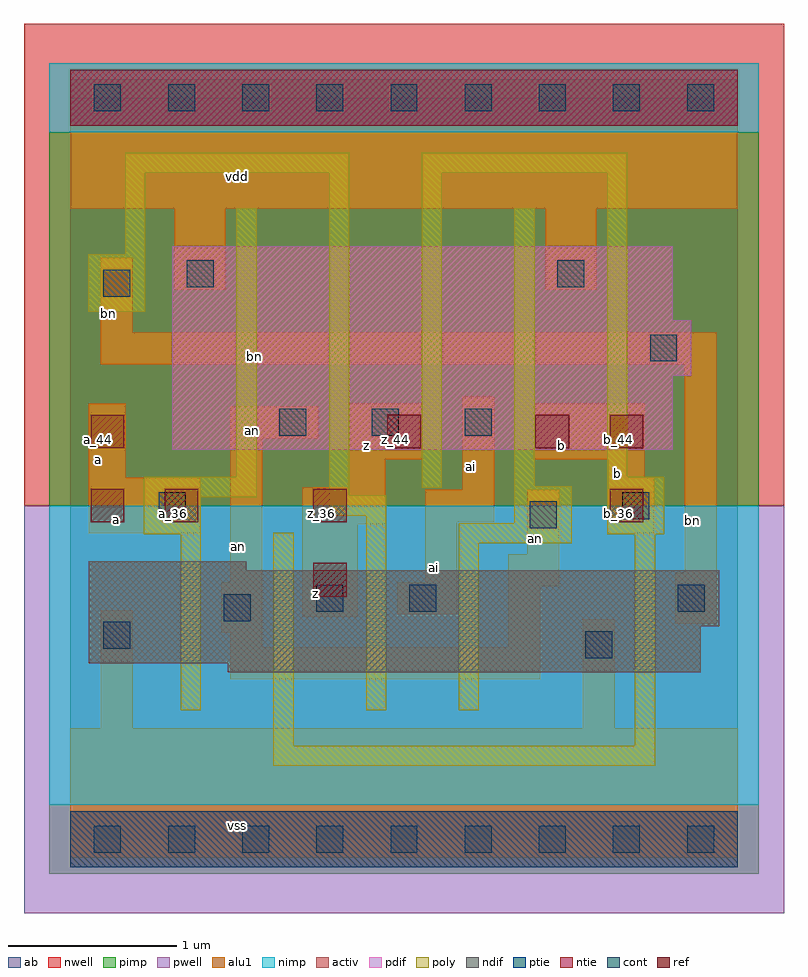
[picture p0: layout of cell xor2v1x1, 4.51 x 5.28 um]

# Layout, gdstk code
import gdstk
lib = gdstk.Library(unit=1e-6, precision=2.5e-09)
def R(c, l, rs):  # rectangles x0, y0, x1, y1
    for r in rs: c.add(gdstk.rectangle(r[:2], r[2:], *l))
def A(c, l, x, y, w, h, nx, ny, dx, dy):  # array of equal rectangles
    R(c, l, [(x+i*dx, y+j*dy, x+i*dx+w, y+j*dy+h) for i in range(nx) for j in range(ny)])
ndif = (3, 0)
pdif = (4, 0)
ntie = (5, 0)
ptie = (6, 0)
ref = (24, 0)
cont = (25, 0)
pwell = (41, 0)
nwell = (42, 0)
activ = (43, 0)
pimp = (44, 0)
nimp = (45, 0)
poly = (46, 0)
alu1 = (49, 0)
ab = (63, 0)

xor2v1x1 = lib.new_cell('xor2v1x1')
R(xor2v1x1, ndif, [(0.935,0.99,3.74,1.045), (0.11,1.045,3.74,1.265), (0.11,1.265,3.85,1.595), (0.11,1.595,1.045,1.65)])
R(xor2v1x1, pdif, [(0.605,2.31,3.575,2.75), (0.605,2.75,3.685,3.08), (0.605,3.08,3.575,3.52)])
R(xor2v1x1, ntie, [(0,4.235,3.96,4.565)])
R(xor2v1x1, ptie, [(0,-0.165,3.96,0.165)])
R(xor2v1x1, ref, [(1.44,1.44,1.64,1.64), (0.12,1.88,0.32,2.08), (0.56,1.88,0.76,2.08), (1.44,1.88,1.64,2.08), (3.2,1.88,3.4,2.08), (0.12,2.32,0.32,2.52), (1.88,2.32,2.08,2.52), (2.76,2.32,2.96,2.52), (3.2,2.32,3.4,2.52)])
A(xor2v1x1, cont, 0.14, -0.08, 0.16, 0.16, 9, 2, 0.44, 4.4)
A(xor2v1x1, cont, 1.24, 2.395, 0.16, 0.16, 3, 1, 0.55, 0)
R(xor2v1x1, cont, [(3.055,1.075,3.215,1.235), (0.195,1.13,0.355,1.29), (0.91,1.295,1.07,1.455), (1.46,1.35,1.62,1.51), (2.01,1.35,2.17,1.51), (3.605,1.35,3.765,1.51), (2.725,1.845,2.885,2.005), (0.525,1.9,0.685,2.06), (3.275,1.9,3.435,2.06), (3.44,2.835,3.6,2.995), (0.195,3.22,0.355,3.38), (0.69,3.275,0.85,3.435), (2.89,3.275,3.05,3.435)])
R(xor2v1x1, pwell, [(-0.275,-0.44,4.235,1.98)])
R(xor2v1x1, nwell, [(-0.275,1.98,4.235,4.84)])
R(xor2v1x1, activ, [(0,-0.165,3.96,0.165), (0.935,0.99,3.74,1.045), (0.11,1.045,3.74,1.265), (0.11,1.265,3.85,1.595), (0.11,1.595,1.045,1.65), (0.605,2.31,3.575,2.75), (0.605,2.75,3.685,3.08), (0.605,3.08,3.575,3.52), (0,4.235,3.96,4.565)])
R(xor2v1x1, pimp, [(-0.125,-0.205,4.085,0.205), (-0.125,1.98,4.085,4.195)])
R(xor2v1x1, nimp, [(-0.125,0.205,4.085,1.98), (-0.125,4.195,4.085,4.605)])
R(xor2v1x1, poly, [(1.205,0.435,3.47,0.555), (1.205,0.555,1.325,1.82), (3.35,0.555,3.47,1.81), (0.655,0.765,0.775,1.81), (1.755,0.765,1.875,1.92), (2.305,0.765,2.425,1.755), (2.305,1.755,2.975,1.875), (0.435,1.81,0.775,2.03), (3.185,1.81,3.525,2.15), (2.635,1.875,2.975,2.095), (1.535,1.92,1.875,2.04), (0.435,2.03,1.105,2.15), (1.535,2.04,1.655,3.955), (2.085,2.085,2.205,3.955), (2.635,2.095,2.755,3.745), (0.985,2.15,1.105,3.745), (3.185,2.15,3.305,3.955), (0.105,3.13,0.445,3.47), (0.325,3.47,0.445,3.955), (0.325,3.955,1.655,4.075), (2.085,3.955,3.305,4.075)])
R(xor2v1x1, alu1, [(0,-0.11,3.96,0.66), (0.18,0.66,0.37,1.36), (3.04,0.66,3.23,1.305), (0.95,0.95,2.79,1.14), (0.95,1.14,1.14,1.225), (2.6,1.14,2.79,1.5), (0.895,1.225,1.14,1.525), (3.59,1.28,3.835,1.58), (1.375,1.32,1.705,1.87), (1.94,1.335,2.295,1.525), (2.6,1.5,2.9,1.69), (0.95,1.525,1.14,2.38), (2.105,1.525,2.295,1.885), (3.645,1.58,3.835,2.82), (2.71,1.69,2.9,2.075), (0.11,1.815,0.77,2.145), (3.19,1.815,3.465,2.145), (1.375,1.87,1.87,2.09), (2.105,1.885,2.515,2.075), (2.325,2.075,2.515,2.625), (1.65,2.09,1.87,2.255), (0.11,2.145,0.33,2.585), (3.19,2.145,3.41,2.255), (1.65,2.255,2.09,2.585), (2.75,2.255,3.41,2.585), (0.95,2.38,1.47,2.57), (0.18,2.82,3.835,3.01), (0.18,3.01,0.37,3.45), (0.62,3.26,0.92,3.74), (2.82,3.26,3.12,3.74), (0,3.74,3.96,4.51)])
R(xor2v1x1, ab, [(0,0,3.96,4.4)])
xor2v1x1.add(gdstk.Label('vss', (0.99,0.0825), layer=49, texttype=0))
xor2v1x1.add(gdstk.Label('bn', (3.6925,1.89), layer=49, texttype=0))
xor2v1x1.add(gdstk.Label('an', (2.7575,1.785), layer=49, texttype=0))
xor2v1x1.add(gdstk.Label('ai', (2.1525,1.615), layer=49, texttype=0))
xor2v1x1.add(gdstk.Label('z', (1.4575,1.4575), layer=49, texttype=0))
xor2v1x1.add(gdstk.Label('b', (3.245,2.1725), layer=49, texttype=0))
xor2v1x1.add(gdstk.Label('b', (2.915,2.3375), layer=49, texttype=0))
xor2v1x1.add(gdstk.Label('ai', (2.3725,2.2125), layer=49, texttype=0))
xor2v1x1.add(gdstk.Label('z', (1.76,2.3375), layer=49, texttype=0))
xor2v1x1.add(gdstk.Label('an', (0.9975,1.7375), layer=49, texttype=0))
xor2v1x1.add(gdstk.Label('a', (0.275,1.8975), layer=49, texttype=0))
xor2v1x1.add(gdstk.Label('an', (1.08,2.4275), layer=49, texttype=0))
xor2v1x1.add(gdstk.Label('a', (0.165,2.255), layer=49, texttype=0))
xor2v1x1.add(gdstk.Label('bn', (1.0925,2.8675), layer=49, texttype=0))
xor2v1x1.add(gdstk.Label('bn', (0.2275,3.12), layer=49, texttype=0))
xor2v1x1.add(gdstk.Label('vdd', (0.99,3.9325), layer=49, texttype=0))
xor2v1x1.add(gdstk.Label('a_36', (0.61,1.93), layer=24, texttype=0))
xor2v1x1.add(gdstk.Label('z_28', (1.49,1.49), layer=24, texttype=0))
xor2v1x1.add(gdstk.Label('z_36', (1.49,1.93), layer=24, texttype=0))
xor2v1x1.add(gdstk.Label('a_36', (0.17,1.93), layer=24, texttype=0))
xor2v1x1.add(gdstk.Label('a_44', (0.17,2.37), layer=24, texttype=0))
xor2v1x1.add(gdstk.Label('b_44', (2.81,2.37), layer=24, texttype=0))
xor2v1x1.add(gdstk.Label('b_36', (3.25,1.93), layer=24, texttype=0))
xor2v1x1.add(gdstk.Label('b_44', (3.25,2.37), layer=24, texttype=0))
xor2v1x1.add(gdstk.Label('z_44', (1.93,2.37), layer=24, texttype=0))

lib.write_gds('xor2v1x1.gds')
